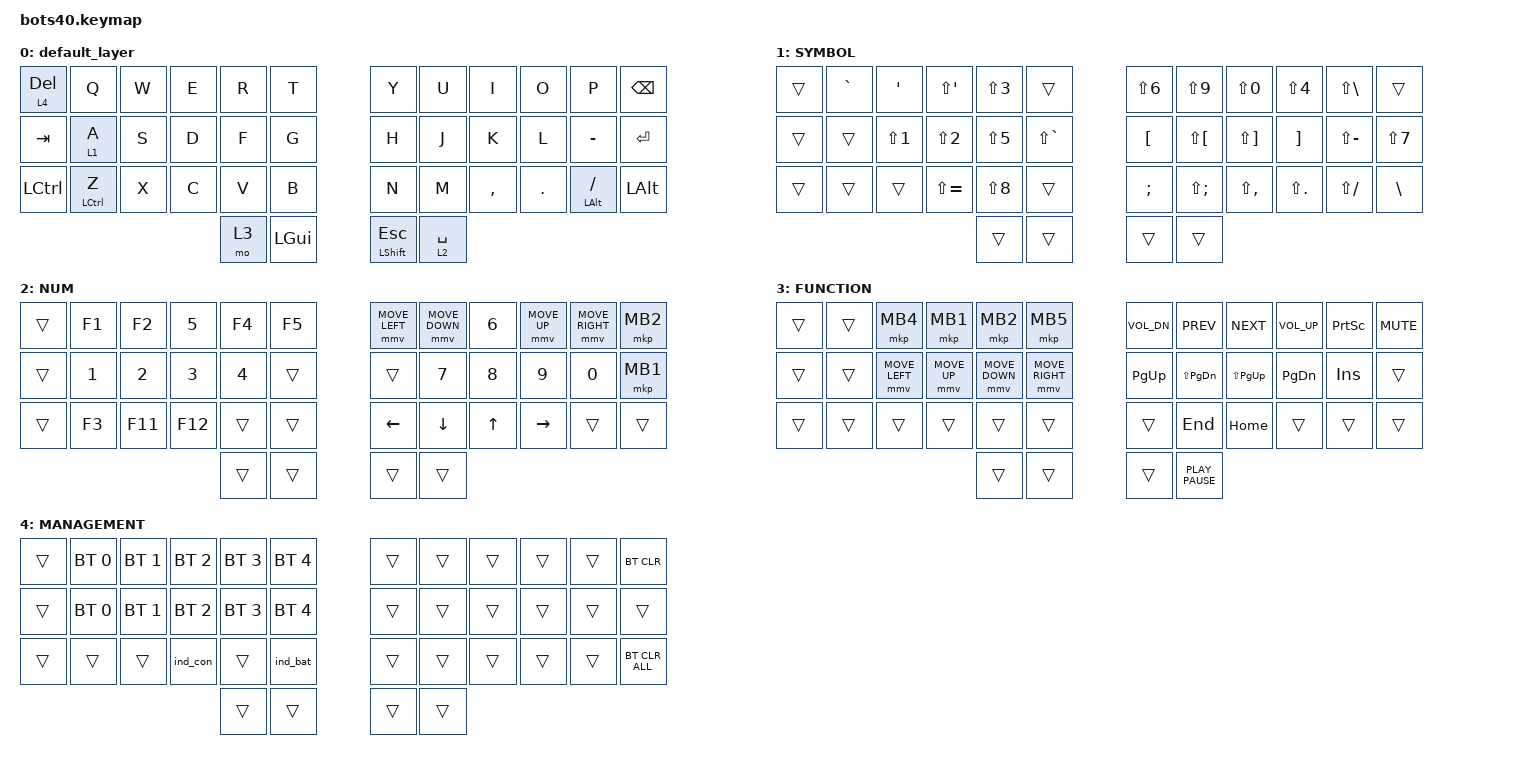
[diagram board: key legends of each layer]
#include <behaviors.dtsi>
#include <dt-bindings/zmk/bt.h>
#include <dt-bindings/zmk/keys.h>
#include <dt-bindings/zmk/pointing.h>

#include "./keycode_japanese.h"
#include <behaviors/rgbled_widget.dtsi>

// マウスの速度設定
// default; 600
#define ZMK_POINTING_DEFAULT_MOVE_VAL 1500 
// default; 10
#define ZMK_POINTING_DEFAULT_SCRL_VAL 20

&mt {
    flavor = "balanced";
    quick-tap-ms = <0>;
};

&mmv {
    time-to-max-speed-ms = <600>;
    acceleration-exponent = <3>;
    delay-ms = <0>;
};
&msc {
    time-to-max-speed-ms = <0>;
    acceleration-exponent = <1>;
};

/ {
    combos {
        compatible = "zmk,combos";
    };

    macros {
         s_kp: s_kp {
            compatible = "zmk,behavior-macro-one-param";
            wait-ms = <16>;
            tap-ms = <0>;
            #binding-cells = <1>;
            bindings
                = <&macro_press &kp LSHFT>
                , <&macro_param_1to1>
                , <&macro_tap &kp MACRO_PLACEHOLDER>
                , <&macro_release &kp LSHFT>
                ;
        };
        cg_kp: cg_kp {
            compatible = "zmk,behavior-macro-one-param";
            wait-ms = <16>;
            tap-ms = <0>;
            #binding-cells = <1>;
            bindings
                = <&macro_press &kp LGUI>
                , <&macro_press &kp LCTRL>
                , <&macro_param_1to1>
                , <&macro_tap &kp MACRO_PLACEHOLDER>
                , <&macro_release &kp LGUI>
                , <&macro_release &kp LCTRL>
                ;
        };
    };

    keymap {
        compatible = "zmk,keymap";

        default_layer { //layer 0
            bindings = <
                &lt 4 DEL  &kp Q        &kp W  &kp E  &kp R     &kp T                       &kp Y  &kp U  &kp I      &kp O    &kp P           &kp BSPC
                &kp TAB    &lt 1 A      &kp S  &kp D  &kp F     &kp G                       &kp H  &kp J  &kp K      &kp L    &kp MINUS       &kp RET
                &kp LCTRL  &mt LCTRL Z  &kp X  &kp C  &kp V     &kp B                       &kp N  &kp M  &kp COMMA  &kp DOT  &mt LALT SLASH  &kp LALT
                                               &mo 3  &kp LGUI  &mt LSHFT ESC               &lt 2 SPACE
            >;
        };

        SYMBOL { //layer 1
            bindings = <
                &trans  &kp GRAVE  &kp SQT     &kp LS(SQT)    &kp LS(N3)  &trans                &kp LS(N6)  &kp LS(N9)    &kp LS(N0)     &kp LS(N4)  &kp LS(BSLH)   &trans
                &trans  &trans     &kp LS(N1)  &kp LS(N2)     &kp LS(N5)  &kp LS(GRAVE)         &kp LBKT    &kp LS(LBKT)  &kp LS(RBKT)   &kp RBKT    &kp LS(MINUS)  &kp LS(N7)
                &trans  &trans     &trans      &kp LS(EQUAL)  &kp LS(N8)  &trans                &kp SEMI    &kp LS(SEMI)  &kp LS(COMMA)  &kp LS(DOT) &kp LS(SLASH)  &kp BSLH
                                               &trans         &trans      &trans                &trans
            >;
        };

        NUM { //layer 2
            bindings = <
                &trans  &kp F1  &kp F2   &kp N5   &kp F4  &kp F5                                    &mmv MOVE_LEFT  &mmv MOVE_DOWN  &kp N6        &mmv MOVE_UP     &mmv MOVE_RIGHT  &mkp MB2
                &trans  &kp N1  &kp N2   &kp N3   &kp N4  &trans                                    &trans          &kp N7          &kp N8        &kp N9           &kp N0           &mkp MB1
                &trans  &kp F3  &kp F11  &kp F12  &trans  &trans                                    &kp LEFT_ARROW  &kp DOWN_ARROW  &kp UP_ARROW  &kp RIGHT_ARROW  &trans           &trans
                                          &trans  &trans  &trans                                    &trans
            >;
        };

        FUNCTION { //layer 3
            bindings = <
                &trans  &trans    &mkp MB4        &mkp MB1        &mkp MB2         &mkp MB5               &kp K_VOL_DN  &kp K_PREV     &kp K_NEXT     &kp K_VOL_UP   &kp PSCRN  &kp K_MUTE
                &trans  &trans    &mmv MOVE_LEFT  &mmv MOVE_UP    &mmv MOVE_DOWN   &mmv MOVE_RIGHT        &kp PG_UP     &kp LS(PG_DN)  &kp LS(PG_UP)  &kp PG_DN      &kp INS    &trans
                &trans  &trans    &trans          &trans          &trans           &trans                 &trans        &kp END        &kp HOME       &trans         &trans     &trans
                                                  &trans          &trans           &trans                 &kp K_PLAY_PAUSE
            >;
        };

        MANAGEMENT { //layer 4
            bindings = <
                &trans  &bt BT_SEL 0  &bt BT_SEL 1  &bt BT_SEL 2  &bt BT_SEL 3  &bt BT_SEL 4            &trans  &trans  &trans  &trans  &trans  &bt BT_CLR
                &trans  &bt BT_SEL 0  &bt BT_SEL 1  &bt BT_SEL 2  &bt BT_SEL 3  &bt BT_SEL 4            &trans  &trans  &trans  &trans  &trans  &trans
                &trans  &trans        &trans        &ind_con      &trans        &ind_bat                &trans  &trans  &trans  &trans  &trans  &bt BT_CLR_ALL
                                                    &trans        &trans        &trans                  &trans
            >;
        };
    };
};
//&trans  &trans  &trans  &trans  &trans  &trans                                         &trans  &trans  &trans  &trans  &trans  &trans
//&trans  &trans  &trans  &trans  &trans  &trans                                         &trans  &trans  &trans  &trans  &trans  &trans
//&trans  &trans  &trans  &trans  &trans  &trans                                         &trans  &trans  &trans  &trans  &trans  &trans
//                        &trans  &trans  &trans                                         &trans
